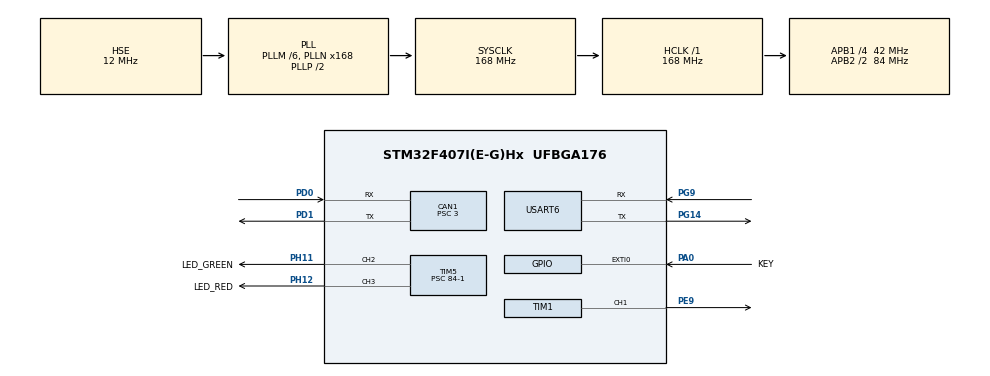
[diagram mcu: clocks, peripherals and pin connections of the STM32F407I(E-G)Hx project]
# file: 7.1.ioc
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CAN1.ABOM=ENABLE
CAN1.BS1=CAN_BS1_9TQ
CAN1.BS2=CAN_BS2_4TQ
CAN1.CalculateBaudRate=1000000
CAN1.CalculateTimeBit=1000
CAN1.CalculateTimeQuantum=71.42857142857143
CAN1.NART=ENABLE
CAN1.Prescaler=3
Dma.Request0=USART6_RX
Dma.Request1=USART6_TX
Dma.USART6_RX.0.Direction=DMA_PERIPH_TO_MEMORY
Dma.USART6_RX.0.FIFOMode=DMA_FIFOMODE_DISABLE
Dma.USART6_RX.0.Instance=DMA2_Stream1
Dma.USART6_RX.0.MemDataAlignment=DMA_MDATAALIGN_BYTE
Dma.USART6_RX.0.MemInc=DMA_MINC_ENABLE
Dma.USART6_RX.0.Mode=DMA_NORMAL
Dma.USART6_RX.0.PeriphDataAlignment=DMA_PDATAALIGN_BYTE
Dma.USART6_RX.0.PeriphInc=DMA_PINC_DISABLE
Dma.USART6_RX.0.Priority=DMA_PRIORITY_LOW
Dma.USART6_TX.1.Direction=DMA_MEMORY_TO_PERIPH
Dma.USART6_TX.1.FIFOMode=DMA_FIFOMODE_DISABLE
Dma.USART6_TX.1.Instance=DMA2_Stream6
Dma.USART6_TX.1.MemDataAlignment=DMA_MDATAALIGN_BYTE
Dma.USART6_TX.1.MemInc=DMA_MINC_ENABLE
Dma.USART6_TX.1.Mode=DMA_NORMAL
Dma.USART6_TX.1.PeriphDataAlignment=DMA_PDATAALIGN_BYTE
Dma.USART6_TX.1.PeriphInc=DMA_PINC_DISABLE
Dma.USART6_TX.1.Priority=DMA_PRIORITY_LOW
FREERTOS.Queues01=uartQueue,16,uint16_t,0,Dynamic,NULL,NULL
FREERTOS.Tasks01=keyTask,24,128,StartkeyTask,Default,NULL,Dynamic,NULL,NULL;motorTask,32,128,StartmotorTask,Default,NULL,Dynamic,NULL,NULL;uartrxTask,24,128,StartuartrxTask,Default,NULL,Dynamic,NULL,NULL;ledTask,8,128,StartledTask,Default,NULL,Dynamic,NULL,NULL;uarttxTask,8,256,StartuarttxTask,Default,NULL,Dynamic,NULL,NULL
FREERTOS.configGENERATE_RUN_TIME_STATS=0
FREERTOS.configTOTAL_HEAP_SIZE=20480
FREERTOS.configUSE_NEWLIB_REENTRANT=1
Mcu.Family=STM32F4
Mcu.Name=STM32F407I(E-G)Hx
Mcu.Package=UFBGA176
NVIC.CAN1_RX0_IRQn=true\:5\:0\:false\:false\:true\:true\:true\:true\:true
NVIC.CAN1_TX_IRQn=true\:5\:0\:false\:false\:true\:true\:true\:true\:true
NVIC.DMA2_Stream1_IRQn=true\:5\:0\:false\:false\:true\:true\:false\:true\:true
NVIC.DMA2_Stream6_IRQn=true\:5\:0\:false\:false\:true\:true\:false\:true\:true
NVIC.EXTI0_IRQn=true\:5\:0\:true\:false\:true\:false\:true\:true\:true
NVIC.PriorityGroup=NVIC_PRIORITYGROUP_4
NVIC.TIM6_DAC_IRQn=true\:15\:0\:false\:false\:true\:false\:false\:true\:true
NVIC.TimeBase=TIM6_DAC_IRQn
NVIC.TimeBaseIP=TIM6
NVIC.USART6_IRQn=true\:5\:0\:false\:false\:true\:true\:false\:true\:true
PA0-WKUP.GPIO_Label=KEY
PA0-WKUP.GPIO_ModeDefaultEXTI=GPIO_MODE_IT_FALLING
PA0-WKUP.GPIO_PuPd=GPIO_PULLUP
PA0-WKUP.Signal=GPXTI0
PA13.Mode=Serial_Wire
PA13.Signal=SYS_JTMS-SWDIO
PA14.Mode=Serial_Wire
PA14.Signal=SYS_JTCK-SWCLK
PD0.Mode=CAN_Activate
PD0.Signal=CAN1_RX
PD1.Mode=CAN_Activate
PD1.Signal=CAN1_TX
PE9.Signal=S_TIM1_CH1
PG14.Mode=Asynchronous
PG14.Signal=USART6_TX
PG9.Mode=Asynchronous
PG9.Signal=USART6_RX
PH0-OSC_IN.Mode=HSE-External-Oscillator
PH0-OSC_IN.Signal=RCC_OSC_IN
PH1-OSC_OUT.Mode=HSE-External-Oscillator
PH1-OSC_OUT.Signal=RCC_OSC_OUT
PH11.GPIO_Label=LED_GREEN
PH11.Signal=S_TIM5_CH2
PH12.GPIO_Label=LED_RED
PH12.Signal=S_TIM5_CH3
ProjectManager.HeapSize=0x200
ProjectManager.StackSize=0x400
ProjectManager.TargetToolchain=STM32CubeIDE
RCC.48MHZClocksFreq_Value=84000000
RCC.AHBFreq_Value=168000000
RCC.APB1CLKDivider=RCC_HCLK_DIV4
RCC.APB1Freq_Value=42000000
RCC.APB1TimFreq_Value=84000000
RCC.APB2CLKDivider=RCC_HCLK_DIV2
RCC.APB2Freq_Value=84000000
RCC.APB2TimFreq_Value=168000000
RCC.CortexFreq_Value=168000000
RCC.HCLKFreq_Value=168000000
RCC.HSE_VALUE=12000000
RCC.HSI_VALUE=16000000
RCC.LSE_VALUE=32768
RCC.PLLM=6
RCC.PLLN=168
RCC.PLLSourceVirtual=RCC_PLLSOURCE_HSE
RCC.SYSCLKFreq_VALUE=168000000
RCC.SYSCLKSource=RCC_SYSCLKSOURCE_PLLCLK
RCC.VCOOutputFreq_Value=336000000
SH.S_TIM1_CH1.0=TIM1_CH1,PWM Generation1 CH1
SH.S_TIM5_CH2.0=TIM5_CH2,PWM Generation2 CH2
SH.S_TIM5_CH3.0=TIM5_CH3,PWM Generation3 CH3
TIM1.Channel-PWM\ Generation1\ CH1=TIM_CHANNEL_1
TIM1.Period=20000-1
TIM1.Prescaler=168-1
TIM5.Channel-PWM\ Generation2\ CH2=TIM_CHANNEL_2
TIM5.Channel-PWM\ Generation3\ CH3=TIM_CHANNEL_3
TIM5.Period=1000-1
TIM5.Prescaler=84-1
USART6.VirtualMode=VM_ASYNC
VP_FREERTOS_VS_CMSIS_V2.Mode=CMSIS_V2
VP_SYS_VS_tim6.Mode=TIM6
board=custom

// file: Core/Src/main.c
/* USER CODE BEGIN Header */
/**
  ******************************************************************************
  * @file           : main.c
  * @brief          : Main program body
  ******************************************************************************
  * @attention
  *
  * Copyright (c) 2026 STMicroelectronics.
  * All rights reserved.
  *
  * This software is licensed under terms that can be found in the LICENSE file
  * in the root directory of this software component.
  * If no LICENSE file comes with this software, it is provided AS-IS.
  *
  ******************************************************************************
  */
/* USER CODE END Header */
#include "main.h"
#include "cmsis_os.h"
#include "can.h"
#include "dma.h"
#include "tim.h"
#include "usart.h"
#include "gpio.h"

/* USER CODE BEGIN Includes */
#include"can_motor.h"
#include"can.h"
#include"PID.h"

/* USER CODE END Includes */

/* USER CODE BEGIN PV */
uint8_t rx_byte;

/* USER CODE END PV */

void SystemClock_Config(void);
void MX_FREERTOS_Init(void);

int main(void)
{

  /* MCU Configuration--------------------------------------------------------*/

  /* Reset of all peripherals, Initializes the Flash interface and the Systick. */
  HAL_Init();

  /* Configure the system clock */
  SystemClock_Config();

  /* Initialize all configured peripherals */
  MX_GPIO_Init();
  MX_DMA_Init();
  MX_TIM1_Init();
  MX_TIM5_Init();
  MX_USART6_UART_Init();
  MX_CAN1_Init();
  /* USER CODE BEGIN 2 */
  /* 配置 CAN 过滤器：只放行 ID=0x205 的反馈帧，并开启 FIFO0 接收中断 */
  CAN_FilterInit(&CHASSIS_CAN);
  /* 填好发送帧头（0x1FF、标准帧、数据帧、8 字节）准备发送1*/
  CAN_Init(&CHASSIS_CAN);
/*记一次时间，防止上电误判超时*/
  motor_parameter.last_rx_time_ms = HAL_GetTick();
  /* 初始化速度环 PID：
       Kp=50、Ki=0.5、Kd=0，输出限幅 15000，
       积分限幅 10000，积分分离阈值 30 rpm，一直积分模式 */
  PID_Init(&speed_pid, 50.0f, 0.5f, 0.0f, 15000.0f, 10000.0f, 30.0f, LIMITING);
  /* 上电时目标转速先置 0，等电脑输入指令改变目标转速 */
  speed_target = 0.0f;
  /* 启动三路 PWM：TIM1_CH1 驱动舵机，TIM5_CH2/CH3 驱动红绿 LED */
  HAL_TIM_PWM_Start(&htim1, TIM_CHANNEL_1);

  HAL_TIM_PWM_Start(&htim5, TIM_CHANNEL_2);

  HAL_TIM_PWM_Start(&htim5, TIM_CHANNEL_3);

  /*初始舵机角度为0°，500~2500对应0~180°*/
  __HAL_TIM_SET_COMPARE(&htim1, TIM_CHANNEL_1, 500);
  /*开启串口单字节中断接收，之后每收到 1 字节就触发 HAL_UART_RxCpltCallback*/
  HAL_UART_Receive_IT(&huart6, &rx_byte, 1);

  /* USER CODE END 2 */

  /* Init scheduler */
  osKernelInitialize();  /* Call init function for freertos objects (in cmsis_os2.c) */
  MX_FREERTOS_Init();

  /* Start scheduler */
  osKernelStart();

  /* We should never get here as control is now taken by the scheduler */

  /* Infinite loop */
  while (1)
  {

  }
}

void SystemClock_Config(void)
{
  RCC_OscInitTypeDef RCC_OscInitStruct = {0};
  RCC_ClkInitTypeDef RCC_ClkInitStruct = {0};

  /** Configure the main internal regulator output voltage
  */
  __HAL_RCC_PWR_CLK_ENABLE();
  __HAL_PWR_VOLTAGESCALING_CONFIG(PWR_REGULATOR_VOLTAGE_SCALE1);

  /** Initializes the RCC Oscillators according to the specified parameters
  * in the RCC_OscInitTypeDef structure.
  */
  RCC_OscInitStruct.OscillatorType = RCC_OSCILLATORTYPE_HSE;
  RCC_OscInitStruct.HSEState = RCC_HSE_ON;
  RCC_OscInitStruct.PLL.PLLState = RCC_PLL_ON;
  RCC_OscInitStruct.PLL.PLLSource = RCC_PLLSOURCE_HSE;
  RCC_OscInitStruct.PLL.PLLM = 6;
  RCC_OscInitStruct.PLL.PLLN = 168;
  RCC_OscInitStruct.PLL.PLLP = RCC_PLLP_DIV2;
  RCC_OscInitStruct.PLL.PLLQ = 4;
  if (HAL_RCC_OscConfig(&RCC_OscInitStruct) != HAL_OK)
  {
    Error_Handler();
  }

  /** Initializes the CPU, AHB and APB buses clocks
  */
  RCC_ClkInitStruct.ClockType = RCC_CLOCKTYPE_HCLK|RCC_CLOCKTYPE_SYSCLK
                              |RCC_CLOCKTYPE_PCLK1|RCC_CLOCKTYPE_PCLK2;
  RCC_ClkInitStruct.SYSCLKSource = RCC_SYSCLKSOURCE_PLLCLK;
  RCC_ClkInitStruct.AHBCLKDivider = RCC_SYSCLK_DIV1;
  RCC_ClkInitStruct.APB1CLKDivider = RCC_HCLK_DIV4;
  RCC_ClkInitStruct.APB2CLKDivider = RCC_HCLK_DIV2;

  if (HAL_RCC_ClockConfig(&RCC_ClkInitStruct, FLASH_LATENCY_5) != HAL_OK)
  {
    Error_Handler();
  }
}

void HAL_TIM_PeriodElapsedCallback(TIM_HandleTypeDef *htim)
{
  if (htim->Instance == TIM6)
  {
    HAL_IncTick();
  }
}

void Error_Handler(void)
{
  __disable_irq();
}

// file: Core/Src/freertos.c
/* USER CODE BEGIN Header */
/**
  ******************************************************************************
  * File Name          : freertos.c
  * Description        : Code for freertos applications
  ******************************************************************************
  * @attention
  *
  * Copyright (c) 2026 STMicroelectronics.
  * All rights reserved.
  *
  * This software is licensed under terms that can be found in the LICENSE file
  * in the root directory of this software component.
  * If no LICENSE file comes with this software, it is provided AS-IS.
  *
  ******************************************************************************
  */
/* USER CODE END Header */

#include "FreeRTOS.h"
#include "task.h"
#include "main.h"
#include "cmsis_os.h"

/* USER CODE BEGIN Includes */
#include "FreeRTOS.h"
#include <main.h>
#include "cmsis_os.h"
#include "can_motor.h"
#include "PID.h"
#include <string.h>
#include <stdio.h>
#include <stdlib.h>
#include "can.h"
#include "dma.h"
#include "tim.h"
#include "usart.h"
#include "gpio.h"

/* USER CODE END Includes */

/* USER CODE BEGIN PD */
#define SERVO_PWM_MIN        500u    /* 0° 对应的 PWM 比较值 */
#define SERVO_PWM_MAX        2500u   /* 180° 对应的 PWM 比较值 */
#define SERVO_ANGLE_MAX_DEG  180     /* 舵机最大角度° */
#define SERVO_ANGLE_STEP_DEG 20        /* 每按一次键转动的角度 */
#define KEY_DEBOUNCE_MS      30       /* 按键去抖时间 */
#define MOTOR_OFFLINE_TIMEOUT_MS  100 /* 电机通信超时时间*/
#define LED_PWM_MAX           1000 /* LED 呼吸灯的 PWM 满占空比*/
#define LED_PWM_STEP          20 /* LED 呼吸灯的 PWM每步增大*/
#define REPORT_PERIOD_MS      2000 /*串口发送周期*/
#define SPEED_TARGET_MAX_RPM 150.0f/* 最大目标转速绝对值 */
/* USER CODE END PD */

/* USER CODE BEGIN Variables */
volatile uint8_t motor_online = 0;
volatile int32_t servo_angle_deg  = 0;
volatile uint8_t key_pressed = 0;
volatile uint32_t key_last_tick_ms = 0;

/* USER CODE END Variables */
/* Definitions for keyTask */
osThreadId_t keyTaskHandle;
const osThreadAttr_t keyTask_attributes = {
  .name = "keyTask",
  .stack_size = 128 * 4,
  .priority = (osPriority_t) osPriorityNormal,
};
/* Definitions for motorTask */
osThreadId_t motorTaskHandle;
const osThreadAttr_t motorTask_attributes = {
  .name = "motorTask",
  .stack_size = 128 * 4,
  .priority = (osPriority_t) osPriorityAboveNormal,
};
/* Definitions for uartrxTask */
osThreadId_t uartrxTaskHandle;
const osThreadAttr_t uartrxTask_attributes = {
  .name = "uartrxTask",
  .stack_size = 128 * 4,
  .priority = (osPriority_t) osPriorityNormal,
};
/* Definitions for ledTask */
osThreadId_t ledTaskHandle;
const osThreadAttr_t ledTask_attributes = {
  .name = "ledTask",
  .stack_size = 128 * 4,
  .priority = (osPriority_t) osPriorityLow,
};
/* Definitions for uarttxTask */
osThreadId_t uarttxTaskHandle;
const osThreadAttr_t uarttxTask_attributes = {
  .name = "uarttxTask",
  .stack_size = 256 * 4,
  .priority = (osPriority_t) osPriorityLow,
};
/* Definitions for uartQueue */
osMessageQueueId_t uartQueueHandle;
const osMessageQueueAttr_t uartQueue_attributes = {
  .name = "uartQueue"
};

void StartkeyTask(void *argument);
void StartmotorTask(void *argument);
void StartuartrxTask(void *argument);
void StartledTask(void *argument);
void StartuarttxTask(void *argument);

void MX_FREERTOS_Init(void); /* (MISRA C 2004 rule 8.1) */

void MX_FREERTOS_Init(void) {

  /* Create the queue(s) */
  /* creation of uartQueue */
  uartQueueHandle = osMessageQueueNew (16, sizeof(uint16_t), &uartQueue_attributes);

  /* Create the thread(s) */
  /* creation of keyTask */
  keyTaskHandle = osThreadNew(StartkeyTask, NULL, &keyTask_attributes);

  /* creation of motorTask */
  motorTaskHandle = osThreadNew(StartmotorTask, NULL, &motorTask_attributes);

  /* creation of uartrxTask */
  uartrxTaskHandle = osThreadNew(StartuartrxTask, NULL, &uartrxTask_attributes);

  /* creation of ledTask */
  ledTaskHandle = osThreadNew(StartledTask, NULL, &ledTask_attributes);

  /* creation of uarttxTask */
  uarttxTaskHandle = osThreadNew(StartuarttxTask, NULL, &uarttxTask_attributes);

}

/* USER CODE BEGIN Header_StartkeyTask */
/**
  * @brief   按键任务：按一次键舵机转 20°，在 0~180° 之间来回摆动
  * @param  argument: Not used
  * @retval None
  */
/* USER CODE END Header_StartkeyTask */
void StartkeyTask(void *argument)
{
  /* USER CODE BEGIN StartkeyTask */
  (void) argument;
  /* Infinite loop */
  /*舵机转动方向，1左，0右*/
  int servo_dir = 0;
  __HAL_TIM_SET_COMPARE(&htim1, TIM_CHANNEL_1, SERVO_PWM_MIN);
  for (;;)
  {
    if (key_pressed == 1 && (HAL_GetTick() - key_last_tick_ms >= KEY_DEBOUNCE_MS))
    {
      if (servo_dir == 0)
      {
        servo_angle_deg += SERVO_ANGLE_STEP_DEG;
        if (servo_angle_deg >= SERVO_ANGLE_MAX_DEG)
        {
          servo_dir = 1;
          servo_angle_deg = SERVO_ANGLE_MAX_DEG;
        }
      }
      else
      {
        servo_angle_deg -= SERVO_ANGLE_STEP_DEG;
        if (servo_angle_deg <= 0)
        {
          servo_dir = 0;
          servo_angle_deg = 0;
        }
      }
      __HAL_TIM_SET_COMPARE(&htim1, TIM_CHANNEL_1,
             SERVO_PWM_MIN + (uint32_t)servo_angle_deg * (SERVO_PWM_MAX - SERVO_PWM_MIN) / SERVO_ANGLE_MAX_DEG);
      key_pressed = 0;
    }
    osDelay(10);
  }
  /* USER CODE END StartkeyTask */
}

/* USER CODE BEGIN Header_StartmotorTask */
/**
* @brief 电机控制任务：判断通信是否正常，正常则跑速度环 PID 并下发电流，输出直接作为电流指令
* @param argument: Not used
* @retval None
*/
/* USER CODE END Header_StartmotorTask */
void StartmotorTask(void *argument)
{
  /* USER CODE BEGIN StartmotorTask */
  (void) argument;
  /* Infinite loop */
  for (;;)
  {
    motor_parameter.now_tick_ms = HAL_GetTick();
    if (motor_parameter.now_tick_ms - motor_parameter.last_rx_time_ms >= MOTOR_OFFLINE_TIMEOUT_MS)
    {
      motor_online = 0;
      PID_Reset(&speed_pid);
      CAN_CmdChassis(0, 0, 0, 0);
    }
    else
    {
      motor_online = 1;
      PID_Calc(&speed_pid, speed_target, (float) motor_parameter.speed_rpm);
      CAN_CmdChassis((int16_t) speed_pid.output, 0, 0, 0);
    }

    osDelay(1);
  }
  /* USER CODE END StartmotorTask */
}

/* USER CODE BEGIN Header_StartuartrxTask */
/**
* @brief 串口接收任务：从队列取字节拼成一行，解析速度指令
* @param argument: Not used
* @retval None
* @note   以 \r 或 \n 作为一行的结束；只认 "motor+xx" / "motor-xx" 格式，
*         解析出整数写入 speed_target，并限幅到 ±150 rpm
*/
/* USER CODE END Header_StartuartrxTask */
void StartuartrxTask(void *argument)
{
  /* USER CODE BEGIN StartuartrxTask */
  (void) argument;
  /* Infinite loop */
  uint16_t ch;
  char line[32];
  uint8_t idx = 0;

  for (;;)
  {
    if (osMessageQueueGet(uartQueueHandle, &ch, NULL, osWaitForever) == osOK)
    {
      if (ch == '\n' || ch == '\r')
      {
        if (idx > 0)
        {
          line[idx] = '\0';
          if (strncmp(line, "motor", 5) == 0 && idx > 6)
          {
            if (line[5] == '+')
            {
              speed_target = (float) atoi(&line[6]);
            }
            if (line[5] == '-')
            {
              speed_target = -(float) atoi(&line[6]);
            }
            if (speed_target > SPEED_TARGET_MAX_RPM) speed_target = SPEED_TARGET_MAX_RPM;
            if (speed_target < -SPEED_TARGET_MAX_RPM) speed_target = -SPEED_TARGET_MAX_RPM;
          }
          idx = 0;
        }
      }
      else if (idx < sizeof(line) - 1)
      {
        line[idx] = (char) ch;
        idx++;
      }
    }
  }
  /* USER CODE END StartuartrxTask */
}

/* USER CODE BEGIN Header_StartledTask */
/**
* @brief LED 任务：按电机在线状态控制红绿两灯
* @param argument: Not used
* @retval None
*/
/* USER CODE END Header_StartledTask */
void StartledTask(void *argument)
{
  /* USER CODE BEGIN StartledTask */
  (void) argument;
  int32_t duty = 0;
  int8_t led_fade_dir = 0;//0渐亮，1渐暗
  /* Infinite loop */
  for (;;)
  {
    if (motor_online == 1)
    {
      __HAL_TIM_SET_COMPARE(&htim5, TIM_CHANNEL_2, LED_PWM_MAX);
      __HAL_TIM_SET_COMPARE(&htim5, TIM_CHANNEL_3, 0);
    } else
    {
      __HAL_TIM_SET_COMPARE(&htim5, TIM_CHANNEL_2, 0);
      if (led_fade_dir == 0)
      {
        duty += LED_PWM_STEP;
        if (duty >= LED_PWM_MAX)
        {
          duty = LED_PWM_MAX;
          led_fade_dir = 1;
        }
      }
      else
      {
        duty -= LED_PWM_STEP;
        if (duty <= 0)
        {
          duty = 0;
          led_fade_dir = 0;
        }
      }

      __HAL_TIM_SET_COMPARE(&htim5, TIM_CHANNEL_3, (uint32_t)duty);
    }

    osDelay(20);
  }
  /* USER CODE END StartledTask */
}

/* USER CODE BEGIN Header_StartuarttxTask */
/**
* @brief  串口发送任务：每 2 秒上报一次实际转速，串口传到电脑
* @param argument: Not used
* @retval None
*/
/* USER CODE END Header_StartuarttxTask */
void StartuarttxTask(void *argument)
{
  /* USER CODE BEGIN StartuarttxTask */
  (void) argument;
  /* Infinite loop */
  char buf[64];
  int len;

  for (;;)
  {
    len = snprintf(buf, sizeof(buf), "spd=%d\r\n",
                   (int) speed_pid.feedback);

    HAL_UART_Transmit(&huart6, (uint8_t *) buf, (uint16_t) len, 100);

    osDelay(REPORT_PERIOD_MS);
  }
  /* USER CODE END StartuarttxTask */
}

/* USER CODE BEGIN Application */
/*以下都为弱函数*/
/**
 * @brief  外部中断回调：按键按下时记录时刻并置标志
 * @param GPIO_Pin 中断触发引脚
 * @retval 无
 */

void HAL_GPIO_EXTI_Callback(uint16_t GPIO_Pin)
{
  if (GPIO_Pin == KEY_Pin)
  {
    if (HAL_GPIO_ReadPin(KEY_GPIO_Port,KEY_Pin) == GPIO_PIN_RESET)
    {
      key_last_tick_ms = HAL_GetTick();
      key_pressed = 1;
    }
  }
}

/**
 *@brief 串口接收完成回调：把收到的 1 个字节放进队列
 * @param huart huart  触发回调的串口句柄
 * @retval 无
 */
void HAL_UART_RxCpltCallback(UART_HandleTypeDef *huart)
{
  if (huart->Instance == USART6)
  {
    uint16_t v = (uint16_t) rx_byte;
    osMessageQueuePut(uartQueueHandle, &v, 0, 0);
    HAL_UART_Receive_IT(&huart6, &rx_byte, 1);
  }
}

/* USER CODE END Application */
